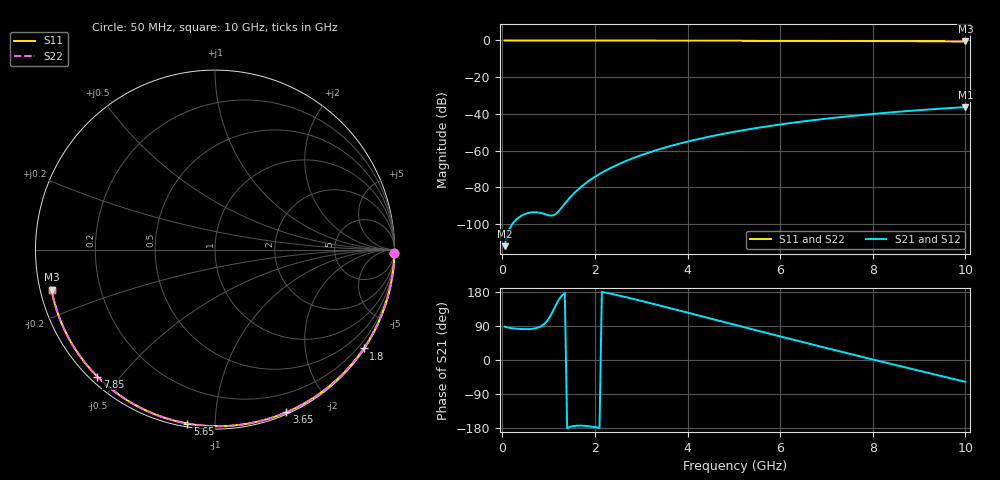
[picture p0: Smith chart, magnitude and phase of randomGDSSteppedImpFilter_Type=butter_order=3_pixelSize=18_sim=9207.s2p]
! freq	dB(S11)	phase(S11)	dB(S12)	phase(S12)
!  dB(S21)	phase(S21)	dB(S22)	phase(S22)
!S-par simulation data
#  GHz  S  DB  R 50
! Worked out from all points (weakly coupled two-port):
!   200 points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, 50 MHz to 10 GHz, reference 50 ohm
!   highest |S21| = -36.34 dB at 10 GHz (marker M1); lowest = -112.1 dB at 50 MHz (marker M2)
!   lowest |S11| = -0.6 dB at 10 GHz (marker M3), VSWR 31.19, Z = 1.63 - j6.04 ohm
!   |S11| at or under -10 dB: nowhere
!   |S22| runs from -0.6 to 0.0 dB; largest |S21 - S12| = 0
!   S11 on the Smith chart (normalised r, x): 50 MHz: open; 1.8 GHz: 0.03, -3.31; 3.65 GHz: 0.02, -1.53; 5.65 GHz: 0.02, -0.85; 7.85 GHz: 0.02, -0.44; 10 GHz: 0.03, -0.12
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0.05  -0.00 -1.0  -112.13 87.9  -112.13 87.9  -0.00 -1.0
0.45  -0.01 -8.5  -95.05 81.6  -95.05 81.6  -0.01 -8.5
0.85  -0.02 -16.0  -94.14 90.1  -94.14 90.1  -0.02 -16.0
1.65  -0.04 -30.9  -80.93 -173.2  -80.93 -173.2  -0.04 -30.8
1.7  -0.04 -31.8  -79.85 -173.3  -79.85 -173.3  -0.04 -31.8
1.75  -0.04 -32.7  -78.82 -173.5  -78.82 -173.5  -0.04 -32.7
1.8  -0.04 -33.6  -77.84 -174.0  -77.84 -174.0  -0.04 -33.6
2.1  -0.05 -39.0  -72.80 -179.2  -72.80 -179.2  -0.05 -39.0
2.5  -0.06 -46.2  -67.59 170.7  -67.59 170.7  -0.06 -46.2
2.9  -0.07 -53.3  -63.44 159.1  -63.44 159.1  -0.07 -53.3
3.4  -0.08 -62.0  -59.22 143.9  -59.22 143.9  -0.08 -62.0
3.65  -0.09 -66.3  -57.40 136.1  -57.40 136.1  -0.09 -66.3
4.3  -0.11 -77.2  -53.36 115.6  -53.36 115.6  -0.11 -77.2
5.05  -0.14 -89.4  -49.59 92.0  -49.59 92.0  -0.14 -89.4
5.65  -0.17 -99.0  -47.09 73.2  -47.09 73.2  -0.17 -99.0
6.15  -0.19 -106.8  -45.27 57.6  -45.27 57.6  -0.19 -106.8
6.7  -0.23 -115.3  -43.49 40.7  -43.49 40.7  -0.23 -115.3
7.25  -0.27 -123.7  -41.93 23.9  -41.93 23.9  -0.27 -123.7
7.85  -0.32 -132.8  -40.42 5.8  -40.42 5.8  -0.32 -132.8
8.35  -0.36 -140.4  -39.29 -9.1  -39.29 -9.1  -0.36 -140.4
9.2  -0.46 -153.5  -37.63 -34.1  -37.63 -34.1  -0.45 -153.5
10  -0.56 -166.2  -36.34 -57.5  -36.34 -57.5  -0.56 -166.2
